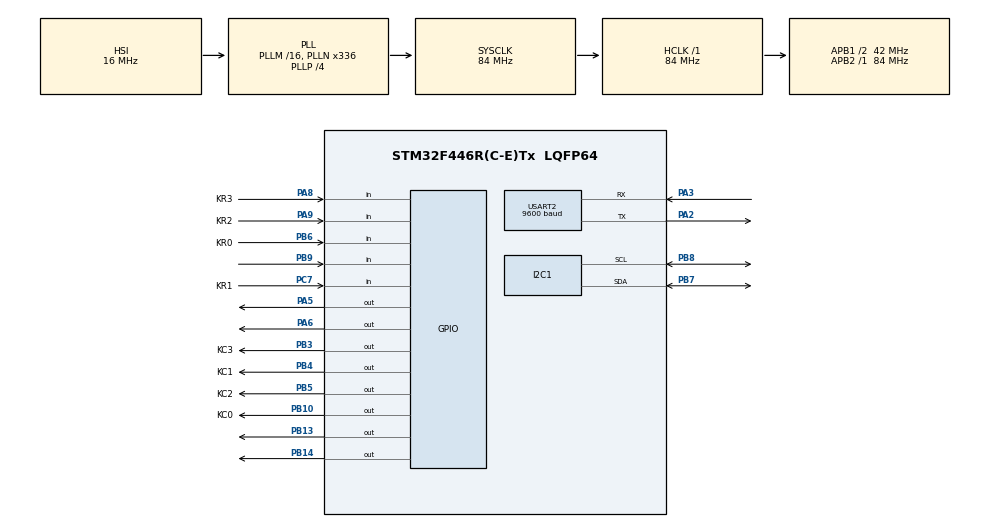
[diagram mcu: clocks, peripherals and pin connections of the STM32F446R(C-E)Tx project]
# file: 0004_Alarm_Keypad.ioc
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FREERTOS.Tasks01=defaultTask,24,128,StartDefaultTask,Default,NULL,Dynamic,NULL,NULL;TaskKeypad,24,128,StartTaskKeypad,Default,NULL,Dynamic,NULL,NULL;TaskDisplay,24,128,StartTaskDisplay,Default,NULL,Dynamic,NULL,NULL;TaskLED,24,128,StartTaskLED,Default,NULL,Dynamic,NULL,NULL;TaskBuzzer,24,128,StartTaskBuzzer,Default,NULL,Dynamic,NULL,NULL;TaskPIR,24,128,StartTaskPIR,Default,NULL,Dynamic,NULL,NULL
FREERTOS.configUSE_NEWLIB_REENTRANT=1
I2C1.I2C_Mode=I2C_Fast
Mcu.Family=STM32F4
Mcu.Name=STM32F446R(C-E)Tx
Mcu.Package=LQFP64
NVIC.PriorityGroup=NVIC_PRIORITYGROUP_4
NVIC.TIM6_DAC_IRQn=true\:15\:0\:false\:false\:true\:false\:false\:true\:true
NVIC.TimeBase=TIM6_DAC_IRQn
NVIC.TimeBaseIP=TIM6
PA13.Mode=Serial_Wire
PA13.Signal=SYS_JTMS-SWDIO
PA14.Mode=Serial_Wire
PA14.Signal=SYS_JTCK-SWCLK
PA2.Mode=Asynchronous
PA2.Signal=USART2_TX
PA3.Mode=Asynchronous
PA3.Signal=USART2_RX
PA5.Signal=GPIO_Output
PA6.Signal=GPIO_Output
PA8.GPIO_Label=KR3
PA8.GPIO_PuPd=GPIO_PULLDOWN
PA8.Signal=GPIO_Input
PA9.GPIO_Label=KR2
PA9.GPIO_PuPd=GPIO_PULLDOWN
PA9.Signal=GPIO_Input
PB10.GPIO_Label=KC0
PB10.Signal=GPIO_Output
PB13.Signal=GPIO_Output
PB14.Signal=GPIO_Output
PB3.GPIO_Label=KC3
PB3.Signal=GPIO_Output
PB4.GPIO_Label=KC1
PB4.Signal=GPIO_Output
PB5.GPIO_Label=KC2
PB5.Signal=GPIO_Output
PB6.GPIO_Label=KR0
PB6.GPIO_PuPd=GPIO_PULLDOWN
PB6.Signal=GPIO_Input
PB7.Mode=I2C
PB7.Signal=I2C1_SDA
PB8.Mode=I2C
PB8.Signal=I2C1_SCL
PB9.Signal=GPIO_Input
PC14-OSC32_IN.Mode=LSE-External-Oscillator
PC14-OSC32_IN.Signal=RCC_OSC32_IN
PC15-OSC32_OUT.Mode=LSE-External-Oscillator
PC15-OSC32_OUT.Signal=RCC_OSC32_OUT
PC7.GPIO_Label=KR1
PC7.GPIO_PuPd=GPIO_PULLDOWN
PC7.Signal=GPIO_Input
PH0-OSC_IN.Mode=HSE-External-Oscillator
PH0-OSC_IN.Signal=RCC_OSC_IN
PH1-OSC_OUT.Mode=HSE-External-Oscillator
PH1-OSC_OUT.Signal=RCC_OSC_OUT
ProjectManager.HeapSize=0x200
ProjectManager.StackSize=0x400
ProjectManager.TargetToolchain=STM32CubeIDE
RCC.48MHZClocksFreq_Value=84000000
RCC.AHBFreq_Value=84000000
RCC.APB1CLKDivider=RCC_HCLK_DIV2
RCC.APB1Freq_Value=42000000
RCC.APB1TimFreq_Value=84000000
RCC.APB2Freq_Value=84000000
RCC.APB2TimFreq_Value=84000000
RCC.CortexFreq_Value=84000000
RCC.FLatency-AdvancedSettings=FLASH_LATENCY_2
RCC.HCLKFreq_Value=84000000
RCC.HSE_VALUE=8000000
RCC.HSI_VALUE=16000000
RCC.PLLN=336
RCC.PLLP=RCC_PLLP_DIV4
RCC.SYSCLKFreq_VALUE=84000000
RCC.SYSCLKSource=RCC_SYSCLKSOURCE_PLLCLK
RCC.USBFreq_Value=168000000
RCC.VCOOutputFreq_Value=336000000
USART2.BaudRate=9600
USART2.VirtualMode=VM_ASYNC
VP_FREERTOS_VS_CMSIS_V2.Mode=CMSIS_V2
VP_SYS_VS_tim6.Mode=TIM6
board=NUCLEO-F446RE

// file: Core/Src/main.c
/* USER CODE BEGIN Header */
/**
 ******************************************************************************
 * @file           : main.c
 * @brief          : Main program body
 ******************************************************************************
 * @attention
 *
 * Copyright (c) 2024 STMicroelectronics.
 * All rights reserved.
 *
 * This software is licensed under terms that can be found in the LICENSE file
 * in the root directory of this software component.
 * If no LICENSE file comes with this software, it is provided AS-IS.
 *
 ******************************************************************************
 */
/* USER CODE END Header */
#include "main.h"
#include "cmsis_os.h"

/* USER CODE BEGIN Includes */
#include "Keypad4X4.h"
#include <stdio.h>
#include <string.h>
#include <stdlib.h>
#include "fonts.h"
#include "ssd1306.h"

/* USER CODE END Includes */

I2C_HandleTypeDef hi2c1;

UART_HandleTypeDef huart2;

/* Definitions for defaultTask */
osThreadId_t defaultTaskHandle;
const osThreadAttr_t defaultTask_attributes = {
  .name = "defaultTask",
  .stack_size = 128 * 4,
  .priority = (osPriority_t) osPriorityNormal,
};
/* Definitions for TaskKeypad */
osThreadId_t TaskKeypadHandle;
const osThreadAttr_t TaskKeypad_attributes = {
  .name = "TaskKeypad",
  .stack_size = 128 * 4,
  .priority = (osPriority_t) osPriorityNormal,
};
/* Definitions for TaskDisplay */
osThreadId_t TaskDisplayHandle;
const osThreadAttr_t TaskDisplay_attributes = {
  .name = "TaskDisplay",
  .stack_size = 128 * 4,
  .priority = (osPriority_t) osPriorityNormal,
};
/* Definitions for TaskLED */
osThreadId_t TaskLEDHandle;
const osThreadAttr_t TaskLED_attributes = {
  .name = "TaskLED",
  .stack_size = 128 * 4,
  .priority = (osPriority_t) osPriorityNormal,
};
/* Definitions for TaskBuzzer */
osThreadId_t TaskBuzzerHandle;
const osThreadAttr_t TaskBuzzer_attributes = {
  .name = "TaskBuzzer",
  .stack_size = 128 * 4,
  .priority = (osPriority_t) osPriorityNormal,
};
/* Definitions for TaskPIR */
osThreadId_t TaskPIRHandle;
const osThreadAttr_t TaskPIR_attributes = {
  .name = "TaskPIR",
  .stack_size = 128 * 4,
  .priority = (osPriority_t) osPriorityNormal,
};
/* USER CODE BEGIN PV */
extern char key;
char hold[6];
char temp[6];
char code[6];
bool codeSet = false;
bool armed = false;
bool motion = false;
bool pirState = false;
int length = 0;
/* USER CODE END PV */

void SystemClock_Config(void);
static void MX_GPIO_Init(void);
static void MX_USART2_UART_Init(void);
static void MX_I2C1_Init(void);
void StartDefaultTask(void *argument);
void StartTaskKeypad(void *argument);
void StartTaskDisplay(void *argument);
void StartTaskLED(void *argument);
void StartTaskBuzzer(void *argument);
void StartTaskPIR(void *argument);

/* USER CODE BEGIN 0 */
char* replaceCharsWithAsterisks(const char* input, int size) {
   // Allocate memory for the new array (+1 for the null terminator)
   char* result = (char*)malloc((size + 1) * sizeof(char));
   // Replace each char with an asterisk
   for (int i = 0; i < size; i++) {
       result[i] = '*';
   }

   // Add null terminator at the end
   result[size] = '\0';

   return result;
}
/* USER CODE END 0 */

int main(void)
{

  /* MCU Configuration--------------------------------------------------------*/

  /* Reset of all peripherals, Initializes the Flash interface and the Systick. */
  HAL_Init();

  /* Configure the system clock */
  SystemClock_Config();

  /* Initialize all configured peripherals */
  MX_GPIO_Init();
  MX_USART2_UART_Init();
  MX_I2C1_Init();
  /* USER CODE BEGIN 2 */
  /* USER CODE BEGIN 2 */
  SSD1306_Init();
  SSD1306_GotoXY(0, 0);
  // SSD1306_Puts ("Voltage:", &Font_11x18, 1);
  SSD1306_Puts("Enter Code:", &Font_11x18, 1);
  SSD1306_GotoXY(0, 30);
  SSD1306_UpdateScreen();
  SSD1306_UpdateScreen();
  HAL_Delay(500);

  /* USER CODE END 2 */

  /* Init scheduler */
  osKernelInitialize();

  /* Create the thread(s) */
  /* creation of defaultTask */
  defaultTaskHandle = osThreadNew(StartDefaultTask, NULL, &defaultTask_attributes);

  /* creation of TaskKeypad */
  TaskKeypadHandle = osThreadNew(StartTaskKeypad, NULL, &TaskKeypad_attributes);

  /* creation of TaskDisplay */
  TaskDisplayHandle = osThreadNew(StartTaskDisplay, NULL, &TaskDisplay_attributes);

  /* creation of TaskLED */
  TaskLEDHandle = osThreadNew(StartTaskLED, NULL, &TaskLED_attributes);

  /* creation of TaskBuzzer */
  TaskBuzzerHandle = osThreadNew(StartTaskBuzzer, NULL, &TaskBuzzer_attributes);

  /* creation of TaskPIR */
  TaskPIRHandle = osThreadNew(StartTaskPIR, NULL, &TaskPIR_attributes);

  /* Start scheduler */
  osKernelStart();

  /* We should never get here as control is now taken by the scheduler */
  /* Infinite loop */
  while (1)
  {

    /* USER CODE BEGIN 3 */
    /* D10 to D7 as input pins for row 0 to row 3. D6 to D3 as output for column pins C1 to C3*/
  }
  /* USER CODE END 3 */
}

void SystemClock_Config(void)
{
  RCC_OscInitTypeDef RCC_OscInitStruct = {0};
  RCC_ClkInitTypeDef RCC_ClkInitStruct = {0};

  /** Configure the main internal regulator output voltage
  */
  __HAL_RCC_PWR_CLK_ENABLE();
  __HAL_PWR_VOLTAGESCALING_CONFIG(PWR_REGULATOR_VOLTAGE_SCALE3);

  /** Initializes the RCC Oscillators according to the specified parameters
  * in the RCC_OscInitTypeDef structure.
  */
  RCC_OscInitStruct.OscillatorType = RCC_OSCILLATORTYPE_HSI;
  RCC_OscInitStruct.HSIState = RCC_HSI_ON;
  RCC_OscInitStruct.HSICalibrationValue = RCC_HSICALIBRATION_DEFAULT;
  RCC_OscInitStruct.PLL.PLLState = RCC_PLL_ON;
  RCC_OscInitStruct.PLL.PLLSource = RCC_PLLSOURCE_HSI;
  RCC_OscInitStruct.PLL.PLLM = 16;
  RCC_OscInitStruct.PLL.PLLN = 336;
  RCC_OscInitStruct.PLL.PLLP = RCC_PLLP_DIV4;
  RCC_OscInitStruct.PLL.PLLQ = 2;
  RCC_OscInitStruct.PLL.PLLR = 2;
  if (HAL_RCC_OscConfig(&RCC_OscInitStruct) != HAL_OK)
  {
    Error_Handler();
  }

  /** Initializes the CPU, AHB and APB buses clocks
  */
  RCC_ClkInitStruct.ClockType = RCC_CLOCKTYPE_HCLK|RCC_CLOCKTYPE_SYSCLK
                              |RCC_CLOCKTYPE_PCLK1|RCC_CLOCKTYPE_PCLK2;
  RCC_ClkInitStruct.SYSCLKSource = RCC_SYSCLKSOURCE_PLLCLK;
  RCC_ClkInitStruct.AHBCLKDivider = RCC_SYSCLK_DIV1;
  RCC_ClkInitStruct.APB1CLKDivider = RCC_HCLK_DIV2;
  RCC_ClkInitStruct.APB2CLKDivider = RCC_HCLK_DIV1;

  if (HAL_RCC_ClockConfig(&RCC_ClkInitStruct, FLASH_LATENCY_2) != HAL_OK)
  {
    Error_Handler();
  }
}

static void MX_I2C1_Init(void)
{

  hi2c1.Instance = I2C1;
  hi2c1.Init.ClockSpeed = 400000;
  hi2c1.Init.DutyCycle = I2C_DUTYCYCLE_2;
  hi2c1.Init.OwnAddress1 = 0;
  hi2c1.Init.AddressingMode = I2C_ADDRESSINGMODE_7BIT;
  hi2c1.Init.DualAddressMode = I2C_DUALADDRESS_DISABLE;
  hi2c1.Init.OwnAddress2 = 0;
  hi2c1.Init.GeneralCallMode = I2C_GENERALCALL_DISABLE;
  hi2c1.Init.NoStretchMode = I2C_NOSTRETCH_DISABLE;
  if (HAL_I2C_Init(&hi2c1) != HAL_OK)
  {
    Error_Handler();
  }

}

static void MX_USART2_UART_Init(void)
{

  huart2.Instance = USART2;
  huart2.Init.BaudRate = 9600;
  huart2.Init.WordLength = UART_WORDLENGTH_8B;
  huart2.Init.StopBits = UART_STOPBITS_1;
  huart2.Init.Parity = UART_PARITY_NONE;
  huart2.Init.Mode = UART_MODE_TX_RX;
  huart2.Init.HwFlowCtl = UART_HWCONTROL_NONE;
  huart2.Init.OverSampling = UART_OVERSAMPLING_16;
  if (HAL_UART_Init(&huart2) != HAL_OK)
  {
    Error_Handler();
  }

}

static void MX_GPIO_Init(void)
{
  GPIO_InitTypeDef GPIO_InitStruct = {0};

  /* GPIO Ports Clock Enable */
  __HAL_RCC_GPIOC_CLK_ENABLE();
  __HAL_RCC_GPIOH_CLK_ENABLE();
  __HAL_RCC_GPIOA_CLK_ENABLE();
  __HAL_RCC_GPIOB_CLK_ENABLE();

  /*Configure GPIO pin Output Level */
  HAL_GPIO_WritePin(GPIOA, GPIO_PIN_5|GPIO_PIN_6, GPIO_PIN_RESET);

  /*Configure GPIO pin Output Level */
  HAL_GPIO_WritePin(GPIOB, KC0_Pin|GPIO_PIN_13|GPIO_PIN_14|KC3_Pin
                          |KC1_Pin|KC2_Pin, GPIO_PIN_RESET);

  /*Configure GPIO pins : PA5 PA6 */
  GPIO_InitStruct.Pin = GPIO_PIN_5|GPIO_PIN_6;
  GPIO_InitStruct.Mode = GPIO_MODE_OUTPUT_PP;
  GPIO_InitStruct.Pull = GPIO_NOPULL;
  GPIO_InitStruct.Speed = GPIO_SPEED_FREQ_LOW;
  HAL_GPIO_Init(GPIOA, &GPIO_InitStruct);

  /*Configure GPIO pins : KC0_Pin PB13 PB14 KC3_Pin
                           KC1_Pin KC2_Pin */
  GPIO_InitStruct.Pin = KC0_Pin|GPIO_PIN_13|GPIO_PIN_14|KC3_Pin
                          |KC1_Pin|KC2_Pin;
  GPIO_InitStruct.Mode = GPIO_MODE_OUTPUT_PP;
  GPIO_InitStruct.Pull = GPIO_NOPULL;
  GPIO_InitStruct.Speed = GPIO_SPEED_FREQ_LOW;
  HAL_GPIO_Init(GPIOB, &GPIO_InitStruct);

  /*Configure GPIO pin : KR1_Pin */
  GPIO_InitStruct.Pin = KR1_Pin;
  GPIO_InitStruct.Mode = GPIO_MODE_INPUT;
  GPIO_InitStruct.Pull = GPIO_PULLDOWN;
  HAL_GPIO_Init(KR1_GPIO_Port, &GPIO_InitStruct);

  /*Configure GPIO pins : KR3_Pin KR2_Pin */
  GPIO_InitStruct.Pin = KR3_Pin|KR2_Pin;
  GPIO_InitStruct.Mode = GPIO_MODE_INPUT;
  GPIO_InitStruct.Pull = GPIO_PULLDOWN;
  HAL_GPIO_Init(GPIOA, &GPIO_InitStruct);

  /*Configure GPIO pin : KR0_Pin */
  GPIO_InitStruct.Pin = KR0_Pin;
  GPIO_InitStruct.Mode = GPIO_MODE_INPUT;
  GPIO_InitStruct.Pull = GPIO_PULLDOWN;
  HAL_GPIO_Init(KR0_GPIO_Port, &GPIO_InitStruct);

  /*Configure GPIO pin : PB9 */
  GPIO_InitStruct.Pin = GPIO_PIN_9;
  GPIO_InitStruct.Mode = GPIO_MODE_INPUT;
  GPIO_InitStruct.Pull = GPIO_NOPULL;
  HAL_GPIO_Init(GPIOB, &GPIO_InitStruct);

}

void StartDefaultTask(void *argument)
{
  for (;;)
  {
    osDelay(1);
  }
}

void StartTaskKeypad(void *argument)
{
  /* USER CODE BEGIN StartTaskKeypad */
  /* Infinite loop */
  for (;;)
  {
	 if(codeSet == false){
	   key = Get_Key();
	   length++;
	   if (key == '#' && (strlen(temp) == 4 || strlen(temp) == 6))
	   {
		 strcat(code, temp);
		 armed = true;
		 codeSet = true;
		 memset(temp, '\0', sizeof(temp));
		 length = 0;
	   } else
	   {
		 strcat(temp, &key);
	   }
	 } else {
		key = Get_Key();
		length++;
		if (key == '#'){
		  if (0 == strcmp(code, temp))
		  {
			if (armed == true){
				armed = false;
			} else {
				armed = true;
			}
		  }
		  memset(temp, '\0', sizeof(temp));
          length = 0;
		}
		else
		{
		  strcat(temp, &key);
		}
	  }
	 osDelay(100);
  }
  /* USER CODE END StartTaskKeypad */
}

void StartTaskDisplay(void *argument)
{
  /* USER CODE BEGIN StartTaskDisplay */
  /* Infinite loop */
  for (;;)
  {
	SSD1306_Clear();
    SSD1306_GotoXY (0,0);
	 if (armed)
	{
	  SSD1306_Puts ("ARMED:", &Font_11x18, 1);
	}
	else
	{
	  SSD1306_Puts ("NOT ARMED:", &Font_11x18, 1);
	}
	SSD1306_UpdateScreen();
	SSD1306_GotoXY (0, 30);
	char *result = replaceCharsWithAsterisks(temp, length);
	SSD1306_Puts (result, &Font_11x18, 1);
	SSD1306_UpdateScreen();            // Update the screen to show the masked password
    osDelay(1000);                      // Delay
  }
  /* USER CODE END StartTaskDisplay */
}

void StartTaskLED(void *argument)
{
  /* USER CODE BEGIN StartTaskLED */
  /* Infinite loop */
  for (;;)
  {
	  if (armed == true)
		{
		  HAL_GPIO_WritePin(GPIOB, GPIO_PIN_14, GPIO_PIN_SET);
		  HAL_GPIO_WritePin(GPIOB, GPIO_PIN_13, GPIO_PIN_RESET);
		}
		else
		{
		  HAL_GPIO_WritePin(GPIOB, GPIO_PIN_14, GPIO_PIN_RESET);
		  HAL_GPIO_WritePin(GPIOB, GPIO_PIN_13, GPIO_PIN_SET);
		}
	  osDelay(1000);
  }
  /* USER CODE END StartTaskLED */
}

void StartTaskBuzzer(void *argument)
{
  /* USER CODE BEGIN StartTaskBuzzer */
  /* Infinite loop */
  for(;;)
  {
    if(motion == true){
    	uint8_t str1[] = "Alarm turned on\r\n";
    	HAL_UART_Transmit(&huart2, str1, sizeof(str1), 1000);
    	HAL_GPIO_WritePin(GPIOA, GPIO_PIN_6,GPIO_PIN_SET);
    	osDelay(1000);
    	HAL_GPIO_WritePin(GPIOA, GPIO_PIN_6,GPIO_PIN_RESET);
    	uint8_t str2[] = "Alarm turned off\r\n";
    	HAL_UART_Transmit(&huart2, str2, sizeof(str2), 1000);
    	motion = false;
    } else {
    	HAL_GPIO_WritePin(GPIOA, GPIO_PIN_6,GPIO_PIN_RESET);
    }
    osDelay(100);
  }
  /* USER CODE END StartTaskBuzzer */
}

void StartTaskPIR(void *argument)
{
  /* USER CODE BEGIN StartTaskPIR */
  /* Infinite loop */
  for(;;)
  {
	  if(armed == true){
		  osDelay(10000);
		  while(armed){
			  uint8_t str1[] = "I am waiting for motion\r\n";
			  HAL_UART_Transmit(&huart2, str1, sizeof(str1), 1000);
			  bool temp = HAL_GPIO_ReadPin(GPIOB, GPIO_PIN_9);
			  if (temp == GPIO_PIN_SET){
				  if (motion == false){
					  uint8_t str2[] = "I got motion\r\n";
					  HAL_UART_Transmit(&huart2, str2, sizeof(str2), 1000);
					  motion = true;
				  }
			  } else {
				  if (motion == true) {
					  uint8_t str2[] = "Motion Stopped\r\n";
					  HAL_UART_Transmit(&huart2, str2, sizeof(str2), 1000);
					  motion = false;
				  }
			  }
		  }
	  }else {
		  motion = false;
	  }
	  osDelay(200);
  }
  /* USER CODE END StartTaskPIR */
}

void HAL_TIM_PeriodElapsedCallback(TIM_HandleTypeDef *htim)
{
  if (htim->Instance == TIM6) {
    HAL_IncTick();
  }
}

void Error_Handler(void)
{
  __disable_irq();
  while (1)
  {
  }
}
